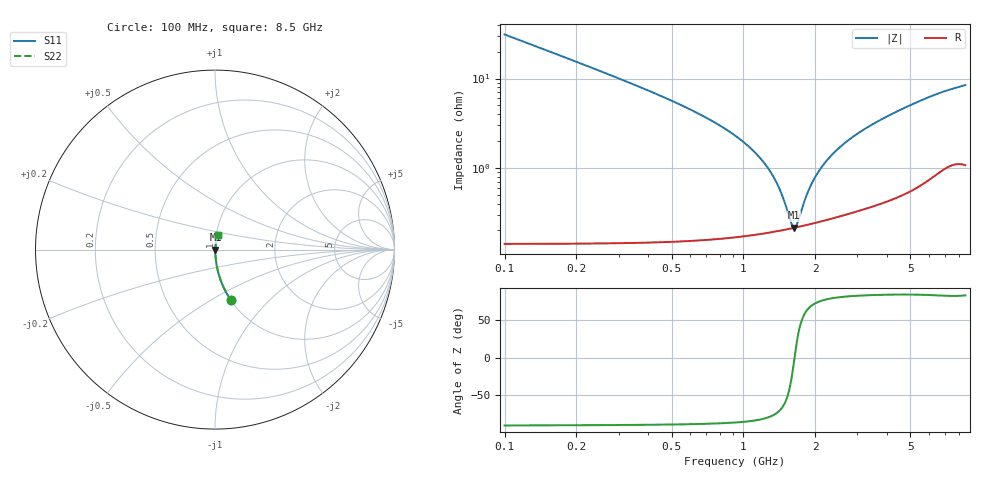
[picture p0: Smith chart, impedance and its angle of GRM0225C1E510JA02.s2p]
!Murata Part Number: GRM0225C1E510JA02
!These Parameters are Measured in Series Mode Connection
!Data Generated on Mar 30, 2021
!  o--ll--o
!Port1  Port2
!  o------o
!Operation Temp=25[degC], DC Bias Voltage=0[V]
!Freq. Start=100[MHz] Stop=9[GHz] 401[Steps]
# Hz S RI R 50
!Freq.(Hz) S11(Real) S11(Imag) S21(Real) S21(Imag) S12(Real) S12(Imag) S22(Real) S22(Imag)
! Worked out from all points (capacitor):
!   401 points, 100 MHz to 8.5 GHz, reference 50 ohm
!   read as one part in series: C = 51 pF near 142 MHz
!   lowest |Z| = 214 mohm at 1.633 GHz (marker M1)
!   series resonance near 1.637 GHz, so ESL is about 190 pH
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1e8  0.0892 -0.2828  0.9108 0.2828  0.9108 0.2828  0.0892 -0.2828
2.26e8  0.0194 -0.1326  0.9806 0.1326  0.9806 0.1326  0.0194 -0.1326
3.73e8  0.00767 -0.0785  0.9923 0.0785  0.9923 0.0785  0.00767 -0.0785
5.62e8  0.00388 -0.0486  0.9961 0.0486  0.9961 0.0486  0.00388 -0.0486
1.003e9  0.00209 -0.0193  0.9979 0.0193  0.9979 0.0193  0.00209 -0.0193
1.192e9  0.00198 -0.0122  0.998 0.0122  0.998 0.0122  0.00198 -0.0122
1.36e9  0.00199 -0.00701  0.998 0.00701  0.998 0.00701  0.00199 -0.00701
1.444e9  0.00202 -0.00472  0.998 0.00472  0.998 0.00472  0.00202 -0.00472
1.507e9  0.00205 -0.0031  0.9979 0.0031  0.9979 0.0031  0.00205 -0.0031
1.591e9  0.00211 -0.00106  0.9979 0.00106  0.9979 0.00106  0.00211 -0.00106
1.633e9  0.00214 -8.07e-05  0.9979 8.07e-05  0.9979 8.07e-05  0.00214 -8.07e-05
1.675e9  0.00217 0.000872  0.9978 -0.000872  0.9978 -0.000872  0.00217 0.000872
1.822e9  0.0023 0.00403  0.9977 -0.00403  0.9977 -0.00403  0.0023 0.00403
1.906e9  0.00238 0.00572  0.9976 -0.00572  0.9976 -0.00572  0.00238 0.00572
2.116e9  0.00261 0.00969  0.9974 -0.00969  0.9974 -0.00969  0.00261 0.00969
2.452e9  0.00303 0.0154  0.997 -0.0154  0.997 -0.0154  0.00303 0.0154
2.914e9  0.00369 0.0225  0.9963 -0.0225  0.9963 -0.0225  0.00369 0.0225
3.523e9  0.00469 0.031  0.9953 -0.031  0.9953 -0.031  0.00469 0.031
4.3e9  0.00621 0.0409  0.9938 -0.0409  0.9938 -0.0409  0.00621 0.0409
5.707e9  0.01 0.0575  0.99 -0.0575  0.99 -0.0575  0.01 0.0575
7.114e9  0.0151 0.071  0.9849 -0.071  0.9849 -0.071  0.0151 0.071
8.5e9  0.0174 0.0816  0.9826 -0.0816  0.9826 -0.0816  0.0174 0.0816
